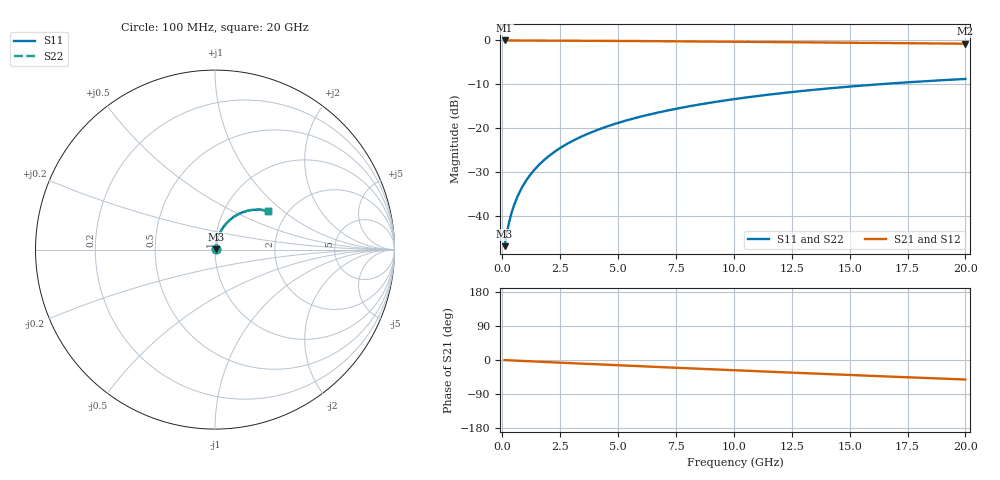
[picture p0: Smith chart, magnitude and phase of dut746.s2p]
! Touchstone file exported from HFSS 2026.1.0
!  File:  C:/ffzhzh/LocalFiles/Ansys_Project_Files/temp_train_TMRDL_746_1783155188_18472.aedt
!  Generated:  04:54:26 PM Jul  4, 2026
!  Design:  TMRDL
!  Project:  temp_train_TMRDL_746_1783155188_18472
! Variables:
!  h_bsmrdl = 2um
!  h_ox = 20um
!  h_rdl = 5um
!  h_sub = 80um
!  h_tmrdl = 5.17um
!  h_tsv = 80um
!  h_via = 3um
!  l_bsmrdl = 300um
!  l_sub = 1249.23um
!  l_tmrdl = 849.23um
!  m_sub = 200um
!  pitch = 33.1um
!  r_tsv = 6um
!  s_tmrdl = 10um
!  w_bsmrdl = 18um
!  w_sub = 500um
!  w_tmrdl = 16.17um
!  x_tsv_center1 = 857.315um
!  x_tsv_center2 = 1175.315um
!  x_tsv_center3 = 2040.715um
!  x_tsv_center4 = 2358.715um
!  x_tsv_center5 = 3224.115um
!  x_tsv_center6 = 3542.115um
# GHz S MA R 50.000000
! Terminal data exported
! Port[1] = TM_RDL1_1_T1
! Port[2] = TM_RDL1_1_T2
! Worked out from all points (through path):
!   200 points, 100 MHz to 20 GHz, reference 50 ohm
!   highest |S21| = -0.03 dB at 100 MHz (marker M1); lowest = -0.8 dB at 20 GHz (marker M2)
!   group delay of S21, straight-line fit = 7.14 ps
!   lowest |S11| = -46.8 dB at 100 MHz (marker M3), VSWR 1.01, Z = 50.4 + j0.27 ohm
!   |S11| at or under -10 dB: start of sweep to 16.24 GHz
!   |S22| runs from -46.8 to -8.8 dB; largest |S21 - S12| = 9.9e-15
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0.1  0.00459 35.7  0.9963 -0.3  0.9963 -0.3  0.00459 35.7
! Gamma 0 0 0 0
! Port Impedance 50 0 50 0
0.2  0.00656 52.7  0.9961 -0.6  0.9961 -0.6  0.00656 52.7
0.3  0.008735 61.0  0.9959 -0.9  0.9959 -0.9  0.008735 61.0
0.4  0.01096 66.0  0.9957 -1.2  0.9957 -1.2  0.01096 66.0
0.5  0.01322 69.2  0.9956 -1.4  0.9956 -1.4  0.01322 69.2
0.6  0.0155 71.5  0.9954 -1.7  0.9954 -1.7  0.0155 71.5
0.8  0.02012 74.4  0.9952 -2.3  0.9952 -2.3  0.02012 74.4
1.1  0.02713 76.6  0.9948 -3.1  0.9948 -3.1  0.02713 76.6
1.3  0.03183 77.3  0.9945 -3.7  0.9945 -3.7  0.03182 77.3
1.6  0.03887 77.7  0.994 -4.5  0.994 -4.5  0.03887 77.7
2.1  0.05055 77.6  0.993 -5.9  0.993 -5.9  0.05055 77.6
2.7  0.06439 76.7  0.9916 -7.6  0.9916 -7.6  0.06439 76.7
3.5  0.0825 75.1  0.9893 -9.8  0.9893 -9.8  0.08249 75.1
4.2  0.09798 73.5  0.987 -11.7  0.987 -11.7  0.09798 73.5
5  0.1153 71.6  0.9843 -13.9  0.9843 -13.9  0.1153 71.6
5.9  0.1343 69.4  0.9809 -16.3  0.9809 -16.3  0.1343 69.5
6.8  0.1528 67.3  0.9774 -18.7  0.9774 -18.7  0.1528 67.3
8.3  0.1825 63.6  0.9712 -22.6  0.9712 -22.6  0.1825 63.7
10.1  0.2165 59.3  0.9631 -27.3  0.9631 -27.3  0.2164 59.3
13.4  0.2733 51.3  0.9473 -35.6  0.9473 -35.6  0.2733 51.4
16.7  0.3226 43.6  0.931 -43.7  0.931 -43.7  0.3225 43.7
20  0.364 36.1  0.9152 -51.5  0.9152 -51.5  0.364 36.2
